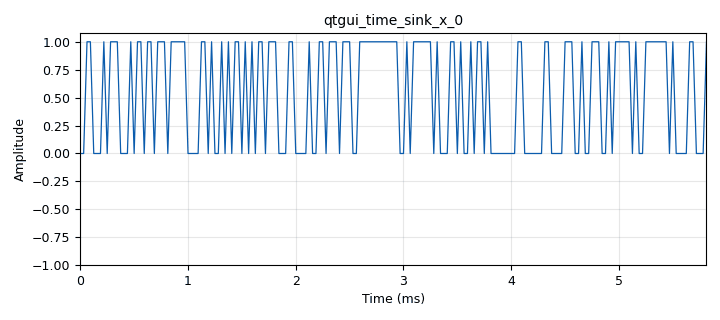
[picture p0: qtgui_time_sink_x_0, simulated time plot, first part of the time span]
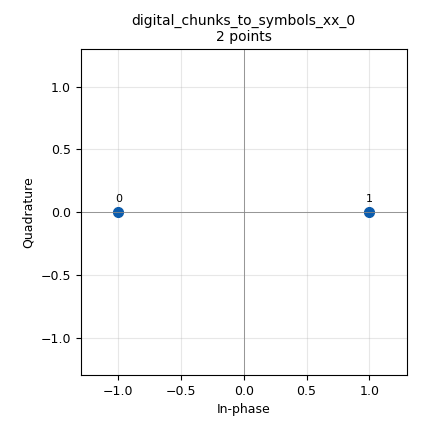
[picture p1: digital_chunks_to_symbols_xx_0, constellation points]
<?xml version='1.0' encoding='utf-8'?>
<?grc format='1' created='3.7.12'?>
<flow_graph>
<block>
<key>options</key>
<param><key>id</key><value>modulation_and_coding_scheme</value></param>
<param><key>author</key><value>Garrett Vanhoy</value></param>
<param><key>description</key><value>Generate symbols for an arbitrary coding rate and modulation scheme</value></param>
<param><key>generate_options</key><value>qt_gui</value></param>
<param><key>title</key><value>Modulation and Coding Scheme</value></param>
</block>
<block>
<key>variable_constellation</key>
<param><key>id</key><value>const</value></param>
<param><key>type</key><value>bpsk</value></param>
<param><key>precision</key><value>8</value></param>
</block>
<block>
<key>variable_cc_encoder_def</key>
<param><key>id</key><value>enc_cc</value></param>
<param><key>padding</key><value>False</value></param>
<param><key>k</key><value>7</value></param>
<param><key>framebits</key><value>2048</value></param>
<param><key>ndim</key><value>0</value></param>
<param><key>polys</key><value>[79,109]</value></param>
<param><key>rate</key><value>2</value></param>
<param><key>state_start</key><value>0</value></param>
<param><key>mode</key><value>fec.CC_STREAMING</value></param>
</block>
<block>
<key>variable</key>
<param><key>id</key><value>num_samples</value></param>
<param><key>value</key><value>1000</value></param>
</block>
<block>
<key>variable</key>
<param><key>id</key><value>samp_rate</value></param>
<param><key>value</key><value>32000</value></param>
</block>
<block>
<key>analog_random_source_x</key>
<param><key>id</key><value>analog_random_source_x_0</value></param>
<param><key>max</key><value>256</value></param>
<param><key>min</key><value>0</value></param>
<param><key>num_samps</key><value>10000</value></param>
<param><key>type</key><value>byte</value></param>
<param><key>repeat</key><value>True</value></param>
</block>
<block>
<key>blocks_char_to_float</key>
<param><key>id</key><value>blocks_char_to_float_0</value></param>
<param><key>scale</key><value>1</value></param>
</block>
<block>
<key>blocks_head</key>
<param><key>id</key><value>blocks_head_0</value></param>
<param><key>num_items</key><value>num_samples</value></param>
<param><key>type</key><value>complex</value></param>
</block>
<block>
<key>blocks_repack_bits_bb</key>
<param><key>id</key><value>blocks_repack_bits_bb_0</value></param>
<param><key>k</key><value>8</value></param>
<param><key>l</key><value>int(np.log2(const.arity()))</value></param>
<param><key>endianness</key><value>gr.GR_LSB_FIRST</value></param>
</block>
<block>
<key>blocks_vector_sink_x</key>
<param><key>id</key><value>blocks_vector_sink_x_0</value></param>
<param><key>type</key><value>complex</value></param>
</block>
<block>
<key>digital_chunks_to_symbols_xx</key>
<param><key>id</key><value>digital_chunks_to_symbols_xx_0</value></param>
<param><key>dimension</key><value>1</value></param>
<param><key>in_type</key><value>byte</value></param>
<param><key>out_type</key><value>complex</value></param>
<param><key>symbol_table</key><value>const.points()</value></param>
</block>
<block>
<key>fec_extended_encoder</key>
<param><key>id</key><value>fec_extended_encoder_0</value></param>
<param><key>encoder_list</key><value>enc_cc</value></param>
<param><key>puncpat</key><value>'11'</value></param>
<param><key>threadtype</key><value>capillary</value></param>
</block>
<block>
<key>import</key>
<param><key>id</key><value>numpy</value></param>
<param><key>import</key><value>import numpy as np</value></param>
</block>
<block>
<key>qtgui_time_sink_x</key>
<param><key>id</key><value>qtgui_time_sink_x_0</value></param>
<param><key>color1</key><value>"blue"</value></param>
<param><key>label1</key><value></value></param>
<param><key>size</key><value>1024</value></param>
<param><key>srate</key><value>samp_rate</value></param>
<param><key>type</key><value>float</value></param>
</block>
<connection><source_block_id>analog_random_source_x_0</source_block_id><sink_block_id>fec_extended_encoder_0</sink_block_id><source_key>0</source_key><sink_key>0</sink_key></connection>
<connection><source_block_id>blocks_char_to_float_0</source_block_id><sink_block_id>qtgui_time_sink_x_0</sink_block_id><source_key>0</source_key><sink_key>0</sink_key></connection>
<connection><source_block_id>blocks_head_0</source_block_id><sink_block_id>blocks_vector_sink_x_0</sink_block_id><source_key>0</source_key><sink_key>0</sink_key></connection>
<connection><source_block_id>blocks_repack_bits_bb_0</source_block_id><sink_block_id>digital_chunks_to_symbols_xx_0</sink_block_id><source_key>0</source_key><sink_key>0</sink_key></connection>
<connection><source_block_id>digital_chunks_to_symbols_xx_0</source_block_id><sink_block_id>blocks_head_0</sink_block_id><source_key>0</source_key><sink_key>0</sink_key></connection>
<connection><source_block_id>fec_extended_encoder_0</source_block_id><sink_block_id>blocks_char_to_float_0</sink_block_id><source_key>0</source_key><sink_key>0</sink_key></connection>
<connection><source_block_id>fec_extended_encoder_0</source_block_id><sink_block_id>blocks_repack_bits_bb_0</sink_block_id><source_key>0</source_key><sink_key>0</sink_key></connection>
</flow_graph>
